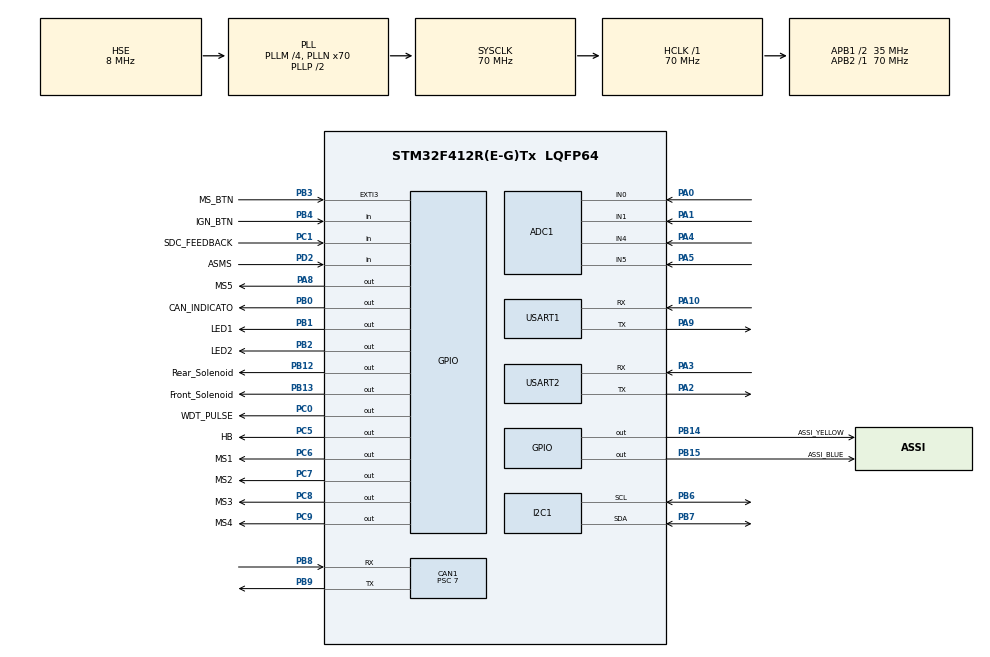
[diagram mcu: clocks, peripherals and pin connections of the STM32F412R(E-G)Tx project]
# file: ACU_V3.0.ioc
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ADC1.Channel-0\#ChannelRegularConversion=ADC_CHANNEL_4
ADC1.Channel-1\#ChannelRegularConversion=ADC_CHANNEL_5
ADC1.Channel-2\#ChannelRegularConversion=ADC_CHANNEL_TEMPSENSOR
ADC1.Channel-3\#ChannelRegularConversion=ADC_CHANNEL_VREFINT
ADC1.DMAContinuousRequests=ENABLE
ADC1.EOCSelection=ADC_EOC_SEQ_CONV
ADC1.ExternalTrigConv=ADC_EXTERNALTRIGCONV_T8_TRGO
ADC1.NbrOfConversion=4
ADC1.NbrOfConversionFlag=1
ADC1.Rank-0\#ChannelRegularConversion=1
ADC1.Rank-1\#ChannelRegularConversion=2
ADC1.Rank-2\#ChannelRegularConversion=3
ADC1.Rank-3\#ChannelRegularConversion=4
ADC1.SamplingTime-0\#ChannelRegularConversion=ADC_SAMPLETIME_480CYCLES
ADC1.SamplingTime-1\#ChannelRegularConversion=ADC_SAMPLETIME_480CYCLES
ADC1.SamplingTime-2\#ChannelRegularConversion=ADC_SAMPLETIME_480CYCLES
ADC1.SamplingTime-3\#ChannelRegularConversion=ADC_SAMPLETIME_480CYCLES
ADC1.master=1
CAN1.ABOM=ENABLE
CAN1.BS1=CAN_BS1_8TQ
CAN1.CalculateBaudRate=500000
CAN1.CalculateTimeBit=2000
CAN1.CalculateTimeQuantum=200.0
CAN1.NART=DISABLE
CAN1.Prescaler=7
CAN1.SJW=CAN_SJW_1TQ
Dma.ADC1.0.Direction=DMA_PERIPH_TO_MEMORY
Dma.ADC1.0.FIFOMode=DMA_FIFOMODE_DISABLE
Dma.ADC1.0.Instance=DMA2_Stream0
Dma.ADC1.0.MemDataAlignment=DMA_MDATAALIGN_WORD
Dma.ADC1.0.MemInc=DMA_MINC_ENABLE
Dma.ADC1.0.Mode=DMA_CIRCULAR
Dma.ADC1.0.PeriphDataAlignment=DMA_PDATAALIGN_WORD
Dma.ADC1.0.PeriphInc=DMA_PINC_DISABLE
Dma.ADC1.0.Priority=DMA_PRIORITY_HIGH
Dma.Request0=ADC1
Dma.Request1=USART2_TX
Dma.Request2=USART1_TX
Dma.Request3=USART2_RX
Dma.Request4=USART1_RX
Dma.USART1_RX.4.Direction=DMA_PERIPH_TO_MEMORY
Dma.USART1_RX.4.FIFOMode=DMA_FIFOMODE_DISABLE
Dma.USART1_RX.4.Instance=DMA2_Stream2
Dma.USART1_RX.4.MemDataAlignment=DMA_MDATAALIGN_BYTE
Dma.USART1_RX.4.MemInc=DMA_MINC_ENABLE
Dma.USART1_RX.4.Mode=DMA_NORMAL
Dma.USART1_RX.4.PeriphDataAlignment=DMA_PDATAALIGN_BYTE
Dma.USART1_RX.4.PeriphInc=DMA_PINC_DISABLE
Dma.USART1_RX.4.Priority=DMA_PRIORITY_LOW
Dma.USART1_TX.2.Direction=DMA_MEMORY_TO_PERIPH
Dma.USART1_TX.2.FIFOMode=DMA_FIFOMODE_ENABLE
Dma.USART1_TX.2.FIFOThreshold=DMA_FIFO_THRESHOLD_FULL
Dma.USART1_TX.2.Instance=DMA2_Stream7
Dma.USART1_TX.2.MemBurst=DMA_MBURST_SINGLE
Dma.USART1_TX.2.MemDataAlignment=DMA_MDATAALIGN_BYTE
Dma.USART1_TX.2.MemInc=DMA_MINC_ENABLE
Dma.USART1_TX.2.Mode=DMA_NORMAL
Dma.USART1_TX.2.PeriphBurst=DMA_PBURST_SINGLE
Dma.USART1_TX.2.PeriphDataAlignment=DMA_PDATAALIGN_BYTE
Dma.USART1_TX.2.PeriphInc=DMA_PINC_DISABLE
Dma.USART1_TX.2.Priority=DMA_PRIORITY_MEDIUM
Dma.USART2_RX.3.Direction=DMA_PERIPH_TO_MEMORY
Dma.USART2_RX.3.FIFOMode=DMA_FIFOMODE_DISABLE
Dma.USART2_RX.3.Instance=DMA1_Stream5
Dma.USART2_RX.3.MemDataAlignment=DMA_MDATAALIGN_BYTE
Dma.USART2_RX.3.MemInc=DMA_MINC_ENABLE
Dma.USART2_RX.3.Mode=DMA_NORMAL
Dma.USART2_RX.3.PeriphDataAlignment=DMA_PDATAALIGN_BYTE
Dma.USART2_RX.3.PeriphInc=DMA_PINC_DISABLE
Dma.USART2_RX.3.Priority=DMA_PRIORITY_LOW
Dma.USART2_TX.1.Direction=DMA_MEMORY_TO_PERIPH
Dma.USART2_TX.1.FIFOMode=DMA_FIFOMODE_ENABLE
Dma.USART2_TX.1.FIFOThreshold=DMA_FIFO_THRESHOLD_FULL
Dma.USART2_TX.1.Instance=DMA1_Stream6
Dma.USART2_TX.1.MemBurst=DMA_MBURST_SINGLE
Dma.USART2_TX.1.MemDataAlignment=DMA_MDATAALIGN_BYTE
Dma.USART2_TX.1.MemInc=DMA_MINC_ENABLE
Dma.USART2_TX.1.Mode=DMA_NORMAL
Dma.USART2_TX.1.PeriphBurst=DMA_PBURST_SINGLE
Dma.USART2_TX.1.PeriphDataAlignment=DMA_PDATAALIGN_BYTE
Dma.USART2_TX.1.PeriphInc=DMA_PINC_DISABLE
Dma.USART2_TX.1.Priority=DMA_PRIORITY_LOW
Mcu.Family=STM32F4
Mcu.Name=STM32F412R(E-G)Tx
Mcu.Package=LQFP64
NVIC.CAN1_RX0_IRQn=true\:0\:0\:false\:false\:true\:true\:true\:true
NVIC.CAN1_RX1_IRQn=true\:0\:0\:false\:false\:true\:true\:true\:true
NVIC.DMA1_Stream5_IRQn=true\:0\:0\:false\:false\:true\:false\:true\:true
NVIC.DMA1_Stream6_IRQn=true\:0\:0\:false\:false\:true\:false\:true\:true
NVIC.DMA2_Stream0_IRQn=true\:0\:0\:false\:false\:true\:false\:true\:true
NVIC.DMA2_Stream2_IRQn=true\:0\:0\:false\:false\:true\:false\:true\:true
NVIC.DMA2_Stream7_IRQn=true\:0\:0\:false\:false\:true\:false\:true\:true
NVIC.EXTI3_IRQn=true\:0\:0\:false\:false\:true\:true\:true\:true
NVIC.PriorityGroup=NVIC_PRIORITYGROUP_4
NVIC.TIM2_IRQn=true\:0\:0\:false\:false\:true\:true\:true\:true
NVIC.USART1_IRQn=true\:0\:0\:false\:false\:true\:true\:true\:true
NVIC.USART2_IRQn=true\:0\:0\:false\:false\:true\:true\:true\:true
PA0.Signal=ADCx_IN0
PA1.Signal=ADCx_IN1
PA10.Mode=Asynchronous
PA10.Signal=USART1_RX
PA13.Mode=Serial_Wire
PA13.Signal=SYS_JTMS-SWDIO
PA14.Mode=Serial_Wire
PA14.Signal=SYS_JTCK-SWCLK
PA2.Mode=Asynchronous
PA2.Signal=USART2_TX
PA3.Mode=Asynchronous
PA3.Signal=USART2_RX
PA4.Signal=ADCx_IN4
PA5.Signal=ADCx_IN5
PA8.GPIO_Label=MS5
PA8.Signal=GPIO_Output
PA9.Mode=Asynchronous
PA9.Signal=USART1_TX
PB0.GPIO_Label=CAN_INDICATO
PB0.Signal=GPIO_Output
PB1.GPIO_Label=LED1
PB1.Signal=GPIO_Output
PB12.GPIO_Label=Rear_Solenoid
PB12.Signal=GPIO_Output
PB13.GPIO_Label=Front_Solenoid
PB13.Signal=GPIO_Output
PB14.GPIO_Label=ASSI_YELLOW
PB14.Signal=GPIO_Output
PB15.GPIO_Label=ASSI_BLUE
PB15.Signal=GPIO_Output
PB2.GPIO_Label=LED2
PB2.Signal=GPIO_Output
PB3.GPIO_Label=MS_BTN
PB3.Signal=GPXTI3
PB4.GPIO_Label=IGN_BTN
PB4.Signal=GPIO_Input
PB6.Mode=I2C
PB6.Signal=I2C1_SCL
PB7.Mode=I2C
PB7.Signal=I2C1_SDA
PB8.Mode=CAN_Activate
PB8.Signal=CAN1_RX
PB9.Mode=CAN_Activate
PB9.Signal=CAN1_TX
PC0.GPIO_Label=WDT_PULSE
PC0.Signal=GPIO_Output
PC1.GPIO_Label=SDC_FEEDBACK
PC1.Signal=GPIO_Input
PC14-OSC32_IN.Mode=LSE-External-Clock-Source
PC14-OSC32_IN.Signal=RCC_OSC32_IN
PC15-OSC32_OUT.Mode=LSE-External-Clock-Source
PC15-OSC32_OUT.Signal=RCC_OSC32_OUT
PC5.GPIO_Label=HB
PC5.Signal=GPIO_Output
PC6.GPIO_Label=MS1
PC6.Signal=GPIO_Output
PC7.GPIO_Label=MS2
PC7.Signal=GPIO_Output
PC8.GPIO_Label=MS3
PC8.Signal=GPIO_Output
PC9.GPIO_Label=MS4
PC9.Signal=GPIO_Output
PD2.GPIO_Label=ASMS
PD2.Signal=GPIO_Input
PH0\ -\ OSC_IN.Mode=HSE-External-Oscillator
PH0\ -\ OSC_IN.Signal=RCC_OSC_IN
PH1\ -\ OSC_OUT.Mode=HSE-External-Oscillator
PH1\ -\ OSC_OUT.Signal=RCC_OSC_OUT
ProjectManager.HeapSize=0x200
ProjectManager.StackSize=0x400
ProjectManager.TargetToolchain=STM32CubeIDE
RCC.AHBFreq_Value=70000000
RCC.APB1CLKDivider=RCC_HCLK_DIV2
RCC.APB1Freq_Value=35000000
RCC.APB1TimFreq_Value=70000000
RCC.APB2Freq_Value=70000000
RCC.APB2TimFreq_Value=70000000
RCC.CortexFreq_Value=70000000
RCC.HCLKFreq_Value=70000000
RCC.HSE_VALUE=8000000
RCC.PLLM=4
RCC.PLLN=70
RCC.PLLQ=5
RCC.PLLSourceVirtual=RCC_PLLSOURCE_HSE
RCC.SYSCLKFreq_VALUE=70000000
RCC.SYSCLKSource=RCC_SYSCLKSOURCE_PLLCLK
RCC.USBFreq_Value=28000000
RCC.VCOOutputFreq_Value=140000000
SH.ADCx_IN0.0=ADC1_IN0,IN0
SH.ADCx_IN1.0=ADC1_IN1,IN1
SH.ADCx_IN4.0=ADC1_IN4,IN4
SH.ADCx_IN5.0=ADC1_IN5,IN5
TIM2.AutoReloadPreload=TIM_AUTORELOAD_PRELOAD_ENABLE
TIM2.Period=999
TIM2.Prescaler=6999
TIM2.TIM_MasterOutputTrigger=TIM_TRGO_RESET
TIM8.AutoReloadPreload=TIM_AUTORELOAD_PRELOAD_ENABLE
TIM8.Period=999
TIM8.Prescaler=71
TIM8.TIM_MasterOutputTrigger=TIM_TRGO_UPDATE
USART1.VirtualMode=VM_ASYNC
USART2.VirtualMode=VM_ASYNC
VP_ADC1_TempSens_Input.Mode=IN-TempSens
VP_ADC1_Vref_Input.Mode=IN-Vrefint
VP_RTC_VS_RTC_Activate.Mode=RTC_Enabled
VP_RTC_VS_RTC_Calendar.Mode=RTC_Calendar
VP_TIM2_VS_ClockSourceINT.Mode=Internal
VP_TIM8_VS_ClockSourceINT.Mode=Internal
board=custom

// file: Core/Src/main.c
/* USER CODE BEGIN Header */
/**
 ******************************************************************************
 * @file           : main.c
 * @brief          : Main program body
 ******************************************************************************
 * @attention
 *
 * Copyright (c) 2025 STMicroelectronics.
 * All rights reserved.
 *
 * This software is licensed under terms that can be found in the LICENSE file
 * in the root directory of this software component.
 * If no LICENSE file comes with this software, it is provided AS-IS.
 *
 ******************************************************************************
 */
/* USER CODE END Header */
#include "main.h"
#include "adc.h"
#include "can.h"
#include "dma.h"
#include "i2c.h"
#include "rtc.h"
#include "tim.h"
#include "usart.h"
#include "gpio.h"

/* USER CODE BEGIN Includes */
#include "APP.h"
#include <stdio.h>
#include <ctype.h>
#include "Autonomous_functions.h"
#include "hardware_abstraction.h"
#include "autonomous_t26.h"
#include "rn4871.h"
#include "EMA_Filter.h"
#include <stdio.h>
#include "ee24.h"
#include "ble_handler.h"
/* USER CODE END Includes */

/* USER CODE BEGIN PTD */

uint32_t ADC_Samples[4];
volatile uint8_t rx_buffer[RX_BUFFER_SIZE];
volatile uint8_t uart_log_dump = 0;

extern DMA_HandleTypeDef hdma_usart2_rx;
/* USER CODE END PTD */

/* USER CODE BEGIN PD */
#define TS_CAL1_ADDR        ((uint16_t*)0x1FFF7A2C)   // Raw @ 30°C, Vdda=3.3V
#define TS_CAL2_ADDR        ((uint16_t*)0x1FFF7A2E)   // Raw @ 110°C, Vdda=3.3V
//#define VREFINT_CAL_ADDR    ((uint16_t*)0x1FFF7A2A)   // Raw Vref @ Vdda=3.3V

#define TEMP_CAL1_TEMPC     30.0f
#define TEMP_CAL2_TEMPC     110.0f

uint16_t raw_vref;

struct ring can_tx_ringbuffer;
struct ring can_rx_ringbuffer;
/* USER CODE END PD */

/* USER CODE BEGIN PM */
uint32_t TX_MAILBOX;
uint8_t tx_data[8];

ema_data_structure ema_rear_pressure;
ema_data_structure ema_front_pressure;

extern uint8_t activate_res;

/* USER CODE END PM */

/* USER CODE BEGIN PV */

struct can_queue can_tx_queue[64];
int can_queue_index = -1;
uint8_t mission_selector_enable = 0;
EE24_HandleTypeDef hee24;

CAN_TxHeaderTypeDef can_tx_header;

/* USER CODE END PV */

void SystemClock_Config(void);
/* USER CODE BEGIN PFP */

float GetTemperature(uint16_t raw_temp, uint16_t raw_vref);

/* USER CODE END PFP */

int main(void) {

	/* MCU Configuration--------------------------------------------------------*/

	/* Reset of all peripherals, Initializes the Flash interface and the Systick. */
	HAL_Init();

	/* Configure the system clock */
	SystemClock_Config();

	/* Initialize all configured peripherals */
	MX_GPIO_Init();
	MX_DMA_Init();
	MX_ADC1_Init();
	MX_CAN1_Init();
	MX_TIM8_Init();
	MX_USART2_UART_Init();
	MX_I2C1_Init();
	MX_TIM2_Init();
	MX_USART1_UART_Init();
	MX_RTC_Init();
	/* USER CODE BEGIN 2 */
	HAL_UARTEx_ReceiveToIdle_DMA(&huart2, (uint8_t*) rx_buffer, RX_BUFFER_SIZE); /* will be overridden by ble_handler_init() */
	uint32_t state = huart2.RxState;  // should be 0x22 (BUSY_RX)
	uint32_t dma_ndtr = hdma_usart2_rx.Instance->NDTR;
	ema_init(&ema_front_pressure, 0.5f);
	ema_init(&ema_rear_pressure, 0.5f);
	app_init();

	/* USER CODE END 2 */

	/* Infinite loop */
	while (1) {

		/* USER CODE BEGIN 3 */
		app();
	}
	/* USER CODE END 3 */
}

void SystemClock_Config(void) {
	RCC_OscInitTypeDef RCC_OscInitStruct = { 0 };
	RCC_ClkInitTypeDef RCC_ClkInitStruct = { 0 };

	/** Configure the main internal regulator output voltage
	 */
	__HAL_RCC_PWR_CLK_ENABLE();
	__HAL_PWR_VOLTAGESCALING_CONFIG(PWR_REGULATOR_VOLTAGE_SCALE1);

	/** Initializes the RCC Oscillators according to the specified parameters
	 * in the RCC_OscInitTypeDef structure.
	 */
	RCC_OscInitStruct.OscillatorType = RCC_OSCILLATORTYPE_LSI | RCC_OSCILLATORTYPE_HSE;
	RCC_OscInitStruct.HSEState = RCC_HSE_ON;
	RCC_OscInitStruct.LSEState = RCC_LSE_BYPASS;
	RCC_OscInitStruct.LSIState = RCC_LSI_ON;
	RCC_OscInitStruct.PLL.PLLState = RCC_PLL_ON;
	RCC_OscInitStruct.PLL.PLLSource = RCC_PLLSOURCE_HSE;
	RCC_OscInitStruct.PLL.PLLM = 4;
	RCC_OscInitStruct.PLL.PLLN = 70;
	RCC_OscInitStruct.PLL.PLLP = RCC_PLLP_DIV2;
	RCC_OscInitStruct.PLL.PLLQ = 5;
	RCC_OscInitStruct.PLL.PLLR = 2;
	if (HAL_RCC_OscConfig(&RCC_OscInitStruct) != HAL_OK) {
		Error_Handler();
	}

	/** Initializes the CPU, AHB and APB buses clocks
	 */
	RCC_ClkInitStruct.ClockType = RCC_CLOCKTYPE_HCLK | RCC_CLOCKTYPE_SYSCLK | RCC_CLOCKTYPE_PCLK1 | RCC_CLOCKTYPE_PCLK2;
	RCC_ClkInitStruct.SYSCLKSource = RCC_SYSCLKSOURCE_PLLCLK;
	RCC_ClkInitStruct.AHBCLKDivider = RCC_SYSCLK_DIV1;
	RCC_ClkInitStruct.APB1CLKDivider = RCC_HCLK_DIV2;
	RCC_ClkInitStruct.APB2CLKDivider = RCC_HCLK_DIV1;

	if (HAL_RCC_ClockConfig(&RCC_ClkInitStruct, FLASH_LATENCY_2) != HAL_OK) {
		Error_Handler();
	}
}

/* USER CODE BEGIN 4 */

void HAL_ADC_ConvCpltCallback(ADC_HandleTypeDef *hadc) {
	if (hadc->Instance == ADC1) {
		float raw_voltage_front = (ADC_Samples[1] * 3.3 / 4096) / 0.66;
		float raw_voltage_rear = (ADC_Samples[0] * 3.3 / 4096) / 0.66;
		t24.chip_temp = GetTemperature(ADC_Samples[2], ADC_Samples[3]);

		float front_pressure = (raw_voltage_front - 0.5) / 0.4;
		float rear_pressure = (raw_voltage_rear - 0.5) / 0.4;

		t24.Front_Pressure.Pneumatic = ema_update(&ema_front_pressure, front_pressure);
		t24.Rear_Pressure.Pneumatic = ema_update(&ema_rear_pressure, rear_pressure);

	}
}

float GetTemperature(uint16_t raw_temp, uint16_t raw_vref) {
	if (raw_vref == 0)
		return 0.0f;

// 1. Calcular VDDA real usando a calibração de fábrica do VREF (3.3V)
// VDDA = 3.3V * (VREFINT_CAL / Raw_VREF)
	float vdda = 3.3f * ((float) (*VREFINT_CAL_ADDR) / (float) raw_vref);

// 2. Ajustar o valor lido da temperatura para a escala de 3.3V
// (A calibração TS_CAL foi feita a 3.3V, se o teu VDDA for diferente, o valor "mexe")
	float raw_equiv_3v3 = (float) raw_temp * (vdda / 3.3f);

// 3. Interpolação Linear
	float ts_cal1 = (float) (*TS_CAL1_ADDR);
	float ts_cal2 = (float) (*TS_CAL2_ADDR);

	float temperature = ((raw_equiv_3v3 - ts_cal1) * (TEMP_CAL2_TEMPC - TEMP_CAL1_TEMPC) / (ts_cal2 - ts_cal1))
			+ TEMP_CAL1_TEMPC;

	return temperature;
}

/***
 * tmr callback
 */

void HAL_TIM_PeriodElapsedCallback(TIM_HandleTypeDef *htim) {
	if (htim->Instance == TIM2) {

		struct autonomous_t26_acu_t AS_data;

		AS_data.acu_cpu_temp = t24.chip_temp;
		AS_data.as_state = t24.Autonomous_State;
		AS_data.asms = t24.ASMS;
		AS_data.assi_state = t24.ASSI_state;
		AS_data.emergency = t24.Emergency;
		/* Rising-edge toggle: each press flips Ignition_Request */
		if (t24.ignition_pin_state == 1 && t24.prev_ign_pin_state == 0) {
			t24.Ignition_Request = !t24.Ignition_Request;
			t24.Ignition_Request &= t24.Ignition_enable;
		}
		t24.prev_ign_pin_state = t24.ignition_pin_state;
		AS_data.ign = t24.Ignition_Request;
		AS_data.mission_select = t24.Current_Mission;
		AS_data.acu_state = (uint8_t) Vehicle_state_machine;
		AS_data.emergency_cause = Emergency_cause;

		autonomous_t26_acu_pack(tx_data, &AS_data, AUTONOMOUS_T26_ACU_LENGTH);

		can_tx_header.StdId = AUTONOMOUS_T26_ACU_FRAME_ID;
		can_tx_header.RTR = CAN_RTR_DATA;
		can_tx_header.DLC = AUTONOMOUS_T26_ACU_LENGTH;

		add_can_message(TX_MAILBOX, can_tx_header, tx_data);

		struct autonomous_t26_dv_status_t dv_data;

		dv_data.as_status = t24.Autonomous_State;
		dv_data.ami_state = t24.Jetson_mission;
		//dv_data.asb_ebs_state

		autonomous_t26_dv_status_pack(tx_data, &dv_data, AUTONOMOUS_T26_DV_STATUS_LENGTH);

		can_tx_header.StdId = AUTONOMOUS_T26_DV_STATUS_FRAME_ID;
		can_tx_header.RTR = CAN_RTR_DATA;
		can_tx_header.DLC = AUTONOMOUS_T26_DV_STATUS_LENGTH;
		add_can_message(TX_MAILBOX, can_tx_header, tx_data);

		struct autonomous_t26_asf_signals_t asf_signals;
		asf_signals.brake_pressure_front = t24.Front_Pressure.Hydraulic * 10;
		asf_signals.brake_pressure_rear = t24.Rear_Pressure.Hydraulic * 10;
		asf_signals.ebs_pressure_tank_front = t24.Front_Pressure.Pneumatic * 10;
		asf_signals.ebs_pressure_tank_rear = t24.Rear_Pressure.Pneumatic * 10;
		autonomous_t26_asf_signals_pack(tx_data, &asf_signals, AUTONOMOUS_T26_ASF_SIGNALS_LENGTH);
		can_tx_header.StdId = AUTONOMOUS_T26_ASF_SIGNALS_FRAME_ID;
		can_tx_header.RTR = CAN_RTR_DATA;
		can_tx_header.DLC = AUTONOMOUS_T26_ASF_SIGNALS_LENGTH;

		add_can_message(TX_MAILBOX, can_tx_header, tx_data);

		if (activate_res == 1) {
			can_tx_header.StdId = 0x00;
			can_tx_header.RTR = CAN_RTR_DATA;
			can_tx_header.DLC = 2;
			tx_data[0] = 1;
			tx_data[1] = 0;
			add_can_message(TX_MAILBOX, can_tx_header, tx_data);
			activate_res = 0;
		} else if (activate_res == 2) {
			can_tx_header.StdId = 0x00;
			can_tx_header.RTR = CAN_RTR_DATA;
			can_tx_header.DLC = 2;
			tx_data[0] = 0;
			tx_data[1] = 0;
			add_can_message(TX_MAILBOX, can_tx_header, tx_data);
			activate_res = 0;
		}

		/* ── BLE telemetry: 15-byte binary packet via ble_handler ── */
		if (!ble_module_config_is_done()) {
			return;
		}
		if (ble_tx_busy) {
			return; /* still sending previous packet, skip this tick */
		}
		static ble_telemetry_packet_t pkt;
		pkt.state_machine = (uint8_t) Vehicle_state_machine;
		pkt.assi_status = t24.ASSI_state;
		pkt.mission = (uint8_t) t24.Current_Mission;
		{
			float _v = t24.Front_Pressure.Hydraulic * 100.0f;
			pkt.hydraulic_p1 = (_v > 65535.0f) ? 65535 : (uint16_t) _v;
		}
		{
			float _v = t24.Rear_Pressure.Hydraulic * 100.0f;
			pkt.hydraulic_p2 = (_v > 65535.0f) ? 65535 : (uint16_t) _v;
		}
		{
			float _v = t24.Front_Pressure.Pneumatic * 100.0f;
			pkt.pneumatic_p1 = (_v > 65535.0f) ? 65535 : (uint16_t) _v;
		}
		{
			float _v = t24.Rear_Pressure.Pneumatic * 100.0f;
			pkt.pneumatic_p2 = (_v > 65535.0f) ? 65535 : (uint16_t) _v;
		}
		{
			float _v = t24.chip_temp * 100.0f;
			pkt.chip_temp = (_v > 32767.0f) ? 32767 : (_v < -32768.0f) ? -32768 : (int16_t) _v;
		}
		pkt.solenoid_front = t24.front_solenoid;
		pkt.solenoid_rear = t24.rear_solenoid;
		ble_send_binary((uint8_t*) &pkt, sizeof(pkt));
	}
}

void HAL_CAN_RxFifo0MsgPendingCallback(CAN_HandleTypeDef *hcan) {
	CAN_RxHeaderTypeDef rx_header;
	uint8_t rx_data[8];

	if (HAL_CAN_GetRxMessage(&hcan1, CAN_RX_FIFO0, &rx_header, rx_data) == HAL_OK) {
		can_rx_buffer_push(&can_rx_ringbuffer, rx_header, rx_data);
	}

}

void HAL_GPIO_EXTI_Callback(uint16_t GPIO_Pin) {
	if (GPIO_Pin == MS_BTN_Pin && mission_selector_enable == 1) {
		t24.Current_Mission++;
		if (t24.Current_Mission > AUTOCROSS) {
			t24.Current_Mission = MANUAL;
		}
	}
}

void HAL_UARTEx_RxEventCallback(UART_HandleTypeDef *huart, uint16_t Size) {
	if (huart->Instance == USART1) {
		char cmd[RX_BUFFER_SIZE] = { 0 };

		uint8_t j = 0;

		for (uint8_t i = 0; i < Size && j < RX_BUFFER_SIZE - 1; i++) {
			char c = (char) rx_buffer[i];
			if (c == '\r' || c == '\n' || c == ' ')
				continue;
			cmd[j++] = tolower(c);
		}

		if (strcmp(cmd, "log") == 0)
			uart_log_dump = 1;
		if (strcmp(cmd, "resume") == 0)
			uart_log_dump = 0;
	}
}

/* USER CODE END 4 */

void Error_Handler(void) {
	__disable_irq();
	while (1) {
	}
}
